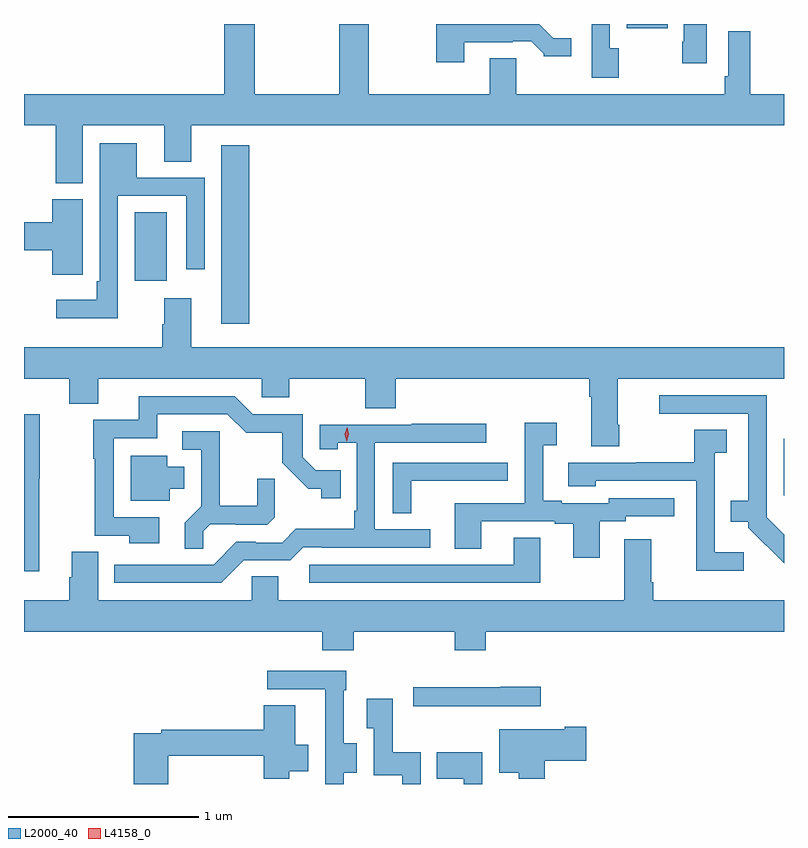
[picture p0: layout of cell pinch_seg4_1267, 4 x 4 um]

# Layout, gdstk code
import gdstk
lib = gdstk.Library(unit=1e-6, precision=1e-09)
def R(c, l, rs):  # rectangles x0, y0, x1, y1
    for r in rs: c.add(gdstk.rectangle(r[:2], r[2:], *l))
def P(c, l, *ps):  # polygons
    for p in ps: c.add(gdstk.Polygon(p, *l))
L2000_40 = (2000, 40)
L4158_0 = (4158, 0)

pinch_seg4_1267 = lib.new_cell('pinch_seg4_1267')
R(pinch_seg4_1267, L2000_40, [(362.486,782.457,362.633,783.397), (362.03,782.682,362.197,783.044), (364.62,784.011,364.834,784.034)])
P(pinch_seg4_1267, L2000_40, [(363.763,783.939),(364.019,783.939),(364.019,783.942),(364.118,783.942),(364.182,783.878),(364.182,783.863),(364.327,783.863),(364.327,783.96),(364.233,783.96),(364.16,784.034),(363.616,784.034),(363.616,783.834),(363.763,783.834)],
  [(365.041,784.034),(364.919,784.034),(364.919,783.94),(364.912,783.94),(364.912,783.828),(365.041,783.828)],
  [(361.756,783.5),(362.186,783.5),(362.186,783.31),(362.326,783.31),(362.326,783.5),(365.447,783.5),(365.447,783.664),(365.27,783.664),(365.27,783.997),(365.154,783.997),(365.154,783.76),(365.134,783.76),(365.134,783.664),(364.039,783.664),(364.039,783.854),(363.899,783.854),(363.899,783.664),(363.261,783.664),(363.261,784.034),(363.106,784.034),(363.106,783.664),(362.661,783.664),(362.661,784.034),(362.501,784.034),(362.501,783.664),(361.447,783.664),(361.447,783.5),(361.613,783.5),(361.613,783.196),(361.756,783.196)],
  [(364.578,783.906),(364.53,783.906),(364.53,784.034),(364.434,784.034),(364.434,783.75),(364.578,783.75)],
  [(361.941,783.129),(362.301,783.129),(362.301,782.742),(362.397,782.742),(362.397,783.225),(362.041,783.225),(362.041,783.406),(361.845,783.406),(361.845,782.68),(361.829,782.68),(361.829,782.584),(361.617,782.584),(361.617,782.486),(361.941,782.486)],
  [(361.755,782.827),(361.756,782.827),(361.756,783.111),(361.595,783.111),(361.595,782.99),(361.447,782.99),(361.447,782.843),(361.595,782.843),(361.595,782.715),(361.755,782.715)],
  [(364.581,781.924),(364.573,781.924),(364.573,782.168),(365.447,782.168),(365.447,782.332),(362.326,782.332),(362.326,782.59),(362.186,782.59),(362.186,782.453),(362.174,782.453),(362.174,782.332),(361.447,782.332),(361.447,782.168),(361.685,782.168),(361.685,782.035),(361.837,782.035),(361.837,782.168),(362.697,782.168),(362.697,782.07),(362.844,782.07),(362.844,782.168),(363.244,782.168),(363.244,782.011),(363.404,782.011),(363.404,782.168),(364.421,782.168),(364.421,782.072),(364.433,782.072),(364.433,781.812),(364.581,781.812)],
  [(365.447,781.345),(365.355,781.437),(365.355,782.079),(364.791,782.079),(364.791,781.983),(365.258,781.983),(365.258,781.525),(365.167,781.525),(365.167,781.415),(365.259,781.415),(365.259,781.383),(365.447,781.195)],
  [(362.158,781.437),(361.92,781.437),(361.92,781.854),(362.149,781.854),(362.149,781.98),(362.517,781.98),(362.616,781.882),(362.805,781.882),(362.805,781.726),(362.942,781.589),(363.012,781.589),(363.012,781.539),(363.113,781.539),(363.113,781.686),(362.982,781.686),(362.913,781.755),(362.913,781.98),(362.652,781.98),(362.556,782.076),(362.051,782.076),(362.051,781.95),(361.812,781.95),(361.812,781.747),(361.819,781.747),(361.819,781.341),(362.002,781.341),(362.002,781.301),(362.158,781.301)],
  [(361.528,781.641),(361.53,781.641),(361.53,781.981),(361.447,781.981),(361.447,781.155),(361.528,781.155)],
  [(364.477,781.416),(364.614,781.416),(364.614,781.443),(364.87,781.443),(364.87,781.539),(364.524,781.539),(364.524,781.512),(364.276,781.512),(364.276,781.525),(364.18,781.525),(364.18,781.816),(364.252,781.816),(364.252,781.936),(364.083,781.936),(364.083,781.512),(363.713,781.512),(363.713,781.273),(363.853,781.273),(363.853,781.416),(364.241,781.416),(364.241,781.404),(364.337,781.404),(364.337,781.224),(364.477,781.224)],
  [(362.604,781.212),(362.847,781.212),(362.916,781.281),(363.016,781.281),(363.016,781.278),(363.586,781.278),(363.586,781.374),(363.294,781.374),(363.294,781.83),(363.88,781.83),(363.88,781.929),(363.487,781.929),(363.487,781.926),(363.003,781.926),(363.003,781.797),(363.099,781.797),(363.099,781.829),(363.198,781.829),(363.198,781.471),(363.186,781.471),(363.186,781.378),(362.878,781.378),(362.805,781.305),(362.666,781.305),(362.666,781.308),(362.565,781.308),(362.445,781.188),(361.922,781.188),(361.922,781.092),(362.484,781.092)],
  [(365.236,781.255),(365.082,781.255),(365.082,781.777),(365.146,781.777),(365.146,781.898),(364.974,781.898),(364.974,781.728),(364.669,781.728),(364.669,781.725),(364.311,781.725),(364.311,781.601),(364.455,781.601),(364.455,781.629),(364.986,781.629),(364.986,781.397),(364.984,781.397),(364.984,781.157),(365.236,781.157)],
  [(362.391,781.364),(362.428,781.401),(362.562,781.401),(362.562,781.398),(362.727,781.398),(362.768,781.439),(362.768,781.641),(362.674,781.641),(362.674,781.498),(362.477,781.498),(362.477,781.89),(362.28,781.89),(362.28,781.794),(362.379,781.794),(362.379,781.495),(362.293,781.409),(362.293,781.273),(362.391,781.273)],
  [(365.447,781.851),(365.445,781.851),(365.445,781.553),(365.447,781.551)],
  [(362.215,781.589),(362.29,781.589),(362.29,781.705),(362.2,781.705),(362.2,781.762),(362.009,781.762),(362.009,781.526),(362.215,781.526)],
  [(363.486,781.629),(363.881,781.629),(363.881,781.63),(363.994,781.63),(363.994,781.725),(363.387,781.725),(363.387,781.459),(363.486,781.459)],
  [(364.165,781.331),(364.025,781.331),(364.025,781.188),(362.949,781.188),(362.949,781.092),(364.165,781.092)],
  [(363.182,780.836),(363.713,780.836),(363.713,780.737),(363.878,780.737),(363.878,780.836),(365.447,780.836),(365.447,781),(364.76,781),(364.76,781.096),(364.747,781.096),(364.747,781.321),(364.607,781.321),(364.607,781),(362.785,781),(362.785,781.127),(362.646,781.127),(362.646,781),(361.837,781),(361.837,781.256),(361.697,781.256),(361.697,781.122),(361.685,781.122),(361.685,781),(361.447,781),(361.447,780.836),(363.017,780.836),(363.017,780.737),(363.182,780.737)],
  [(363.129,780.094),(363.199,780.094),(363.199,780.249),(363.129,780.249),(363.129,780.527),(363.142,780.527),(363.142,780.63),(362.727,780.63),(362.727,780.534),(363.032,780.534),(363.032,780.337),(363.033,780.337),(363.033,780.034),(363.129,780.034)],
  [(363.851,780.444),(364.168,780.444),(364.168,780.545),(363.955,780.545),(363.955,780.542),(363.495,780.542),(363.495,780.442),(363.851,780.442)],
  [(363.534,780.202),(363.387,780.202),(363.387,780.484),(363.251,780.484),(363.251,780.328),(363.288,780.328),(363.288,780.08),(363.438,780.08),(363.438,780.034),(363.534,780.034)],
  [(362.207,780.184),(362.708,780.184),(362.708,780.062),(362.842,780.062),(362.842,780.101),(362.944,780.101),(362.944,780.241),(362.875,780.241),(362.875,780.449),(362.708,780.449),(362.708,780.32),(362.17,780.32),(362.17,780.3),(362.024,780.3),(362.024,780.034),(362.207,780.034)],
  [(364.187,780.157),(364.405,780.157),(364.405,780.335),(364.292,780.335),(364.292,780.322),(363.947,780.322),(363.947,780.092),(364.052,780.092),(364.052,780.062),(364.187,780.062)],
  [(363.858,780.202),(363.619,780.202),(363.619,780.062),(363.761,780.062),(363.761,780.034),(363.858,780.034)])
P(pinch_seg4_1267, L4158_0, [(363.146,781.838),(363.146,781.839),(363.136,781.875),(363.147,781.911),(363.147,781.911),(363.147,781.911),(363.156,781.875),(363.146,781.839)])

lib.write_gds('pinch_seg4_1267.gds')
